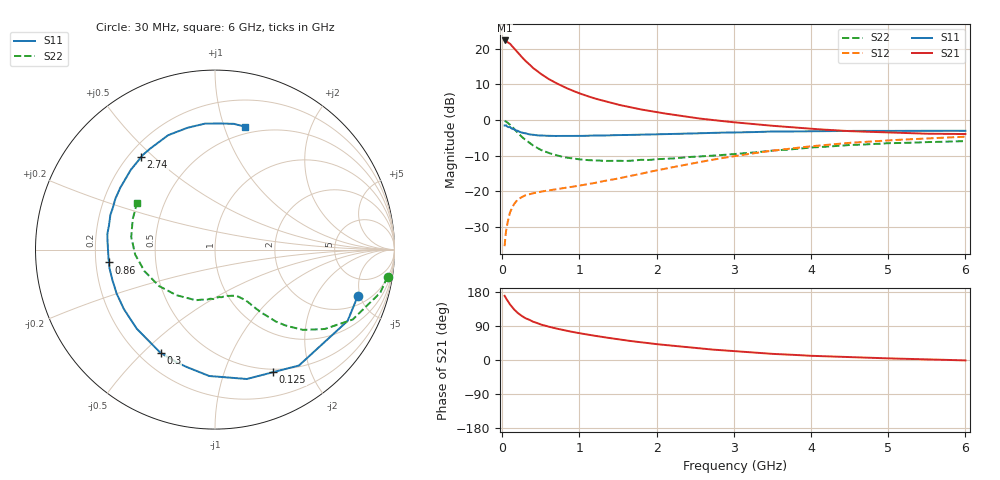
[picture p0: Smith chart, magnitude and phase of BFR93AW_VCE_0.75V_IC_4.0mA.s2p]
! Infineon Technologies  Discrete & RF Semiconductors
! BFR93AW
! VCE = 0.75 V,  IC =  4.0 mA
! Common Emitter S-Parameters:  Nov 2015
# GHz  S  MA  R  50
!  f  S11  S21  S12  S22
! GHz  MAG  ANG  MAG  ANG  MAG  ANG  MAG  ANG
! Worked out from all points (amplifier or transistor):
!   206 points, 30 MHz to 6 GHz, reference 50 ohm
!   highest |S21| = 22.3 dB at 30 MHz (marker M1)
!   |S21| within 3 dB of that: start of sweep to 185 MHz
!   unconditionally stable (mu >= 1): 958.2 MHz to 2.76 GHz; 5.803 GHz to end of sweep
!   at 200 MHz: K = 0.27, MSG = 20.7 dB, |S12| = -22.3 dB
!   at 1.56 GHz: K = 1.15, MAG = 7.7 dB, |S12| = -16.2 dB
!   at 6 GHz: K = 1.00, MAG = 0.0 dB, |S12| = -4.7 dB
!   S11 on the Smith chart (normalised r, x): 30 MHz: 2.74, -4.75; 125 MHz: 0.46, -1.48; 300 MHz: 0.28, -0.57; 860 MHz: 0.25, -0.06; 2.74 GHz: 0.25, +0.46; 6 GHz: 0.43, +1.18
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0.03  0.8365 -18.1  13.08 169.4  0.0169 80.5  0.973 -8.9
0.05  0.8389 -28.3  12.92 162.1  0.0281 75.7  0.9517 -14.6
0.1  0.7974 -54.1  11.77 146.5  0.0504 62.6  0.8607 -26.9
0.125  0.7556 -64.7  10.94 140.6  0.0577 57.8  0.8051 -31.1
0.15  0.7424 -76.2  10.24 133.7  0.0654 54.2  0.7544 -35.9
0.2  0.705 -92.6  8.884 124.1  0.0763 47.4  0.6631 -42.4
0.24  0.6726 -103.7  7.924 118.1  0.0811 43.9  0.599 -45.8
0.26  0.6631 -108.8  7.506 115.3  0.0833 42.5  0.5715 -47.4
0.3  0.6506 -117.8  6.766 110.3  0.0876 40.1  0.5249 -49.8
0.4  0.6199 -134.7  5.364 100.9  0.0935 37.2  0.4367 -53.6
0.5  0.6062 -146.9  4.439 93.6  0.0986 36.4  0.3797 -56.2
0.6  0.6003 -155.8  3.766 88.0  0.1023 37.0  0.3443 -57.9
0.7  0.5963 -163.4  3.286 83.0  0.1069 38.4  0.32 -60.0
0.86  0.5955 -173.1  2.722 76.2  0.1134 40.5  0.2931 -63.5
1.04  0.5977 178.2  2.284 69.3  0.122 43.5  0.2769 -68.1
1.5  0.6141 161.7  1.642 54.8  0.1506 50.7  0.2677 -82.0
2.02  0.6308 146.3  1.275 41.4  0.1973 54.9  0.282 -99.5
2.74  0.6595 128.7  0.994 27.3  0.2786 54.1  0.3163 -122.8
3.1  0.6707 120.6  0.908 21.9  0.3216 51.5  0.3378 -133.8
4.1  0.6962 101.1  0.74 10.4  0.4366 40.6  0.4159 -165.8
5.1  0.7034 86.5  0.661 3.8  0.5241 28.0  0.4739 169.0
6  0.705 76.1  0.635 -1.1  0.5821 17.5  0.5057 149.3
